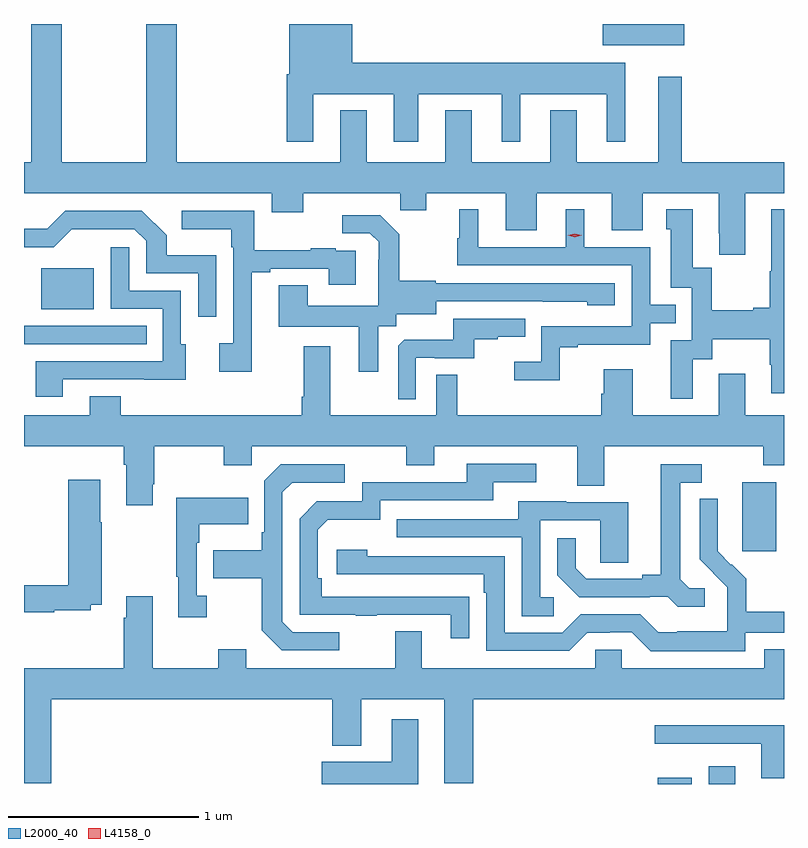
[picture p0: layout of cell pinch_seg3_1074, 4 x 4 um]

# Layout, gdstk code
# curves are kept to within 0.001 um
import gdstk
lib = gdstk.Library(unit=1e-6, precision=1e-09)
def R(c, l, rs):  # rectangles x0, y0, x1, y1
    for r in rs: c.add(gdstk.rectangle(r[:2], r[2:], *l))
def P(c, l, *ps):  # polygons
    for p in ps: c.add(gdstk.Polygon(p, *l))
L2000_40 = (2000, 40)
L4158_0 = (4158, 0)

pinch_seg3_1074 = lib.new_cell('pinch_seg3_1074')
R(pinch_seg3_1074, L2000_40, [(366.476,668.503,366.655,668.536), (366.743,668.503,366.883,668.596), (366.92,669.729,367.099,670.09), (363.14,670.818,363.785,670.914), (363.23,671.003,363.508,671.218), (366.186,672.392,366.615,672.503)])
P(pinch_seg3_1074, L2000_40, [(366.937,671.612),(367.14,671.612),(367.14,671.776),(366.601,671.776),(366.601,672.226),(366.479,672.226),(366.479,671.776),(366.049,671.776),(366.049,672.049),(365.909,672.049),(365.909,671.776),(365.497,671.776),(365.497,672.049),(365.357,672.049),(365.357,671.776),(364.945,671.776),(364.945,672.049),(364.805,672.049),(364.805,671.776),(363.944,671.776),(363.944,672.503),(363.784,672.503),(363.784,671.776),(363.339,671.776),(363.339,672.503),(363.179,672.503),(363.179,671.776),(363.14,671.776),(363.14,671.612),(364.445,671.612),(364.445,671.513),(364.609,671.513),(364.609,671.612),(365.119,671.612),(365.119,671.522),(365.257,671.522),(365.257,671.612),(365.675,671.612),(365.675,671.418),(365.839,671.418),(365.839,671.612),(366.233,671.612),(366.233,671.418),(366.397,671.418),(366.397,671.612),(366.797,671.612),(366.797,671.401),(366.8,671.401),(366.8,671.289),(366.937,671.289)],
  [(364.663,672.134),(365.087,672.134),(365.087,671.883),(365.215,671.883),(365.215,672.134),(365.654,672.134),(365.654,671.883),(365.752,671.883),(365.752,672.134),(366.206,672.134),(366.206,671.883),(366.304,671.883),(366.304,672.298),(364.867,672.298),(364.867,672.503),(364.535,672.503),(364.535,672.238),(364.523,672.238),(364.523,671.883),(364.663,671.883)],
  [(366.661,670.738),(366.763,670.738),(366.763,670.844),(367.066,670.844),(367.066,670.71),(367.073,670.71),(367.073,670.56),(367.14,670.56),(367.14,671.527),(367.073,671.527),(367.073,671.201),(367.066,671.201),(367.066,671.009),(366.977,671.009),(366.977,670.996),(366.759,670.996),(366.759,671.219),(366.661,671.219),(366.661,671.527),(366.521,671.527),(366.521,671.424),(366.545,671.424),(366.545,671.115),(366.654,671.115),(366.654,670.839),(366.545,670.839),(366.545,670.53),(366.661,670.53)],
  [(365.961,670.803),(366.055,670.803),(366.055,670.815),(366.435,670.815),(366.435,670.929),(366.569,670.929),(366.569,671.025),(366.435,671.025),(366.435,671.328),(366.088,671.328),(366.088,671.527),(365.99,671.527),(365.99,671.328),(365.53,671.328),(365.53,671.527),(365.432,671.527),(365.432,671.376),(365.421,671.376),(365.421,671.232),(366.339,671.232),(366.339,670.911),(365.862,670.911),(365.862,670.726),(365.721,670.726),(365.721,670.628),(365.961,670.628)],
  [(364.152,671.287),(363.891,671.287),(363.891,671.39),(363.76,671.52),(363.357,671.52),(363.263,671.426),(363.14,671.426),(363.14,671.328),(363.297,671.328),(363.392,671.423),(363.72,671.424),(363.783,671.361),(363.783,671.19),(364.056,671.19),(364.056,670.962),(364.152,670.962)],
  [(364.339,671.196),(364.435,671.196),(364.435,671.214),(364.745,671.214),(364.745,671.13),(364.885,671.13),(364.885,671.31),(364.781,671.31),(364.781,671.323),(364.649,671.323),(364.649,671.312),(364.351,671.312),(364.351,671.52),(363.969,671.52),(363.969,671.423),(364.23,671.423),(364.23,671.327),(364.242,671.327),(364.242,670.822),(364.167,670.822),(364.167,670.674),(364.339,670.674)],
  [(365.005,670.912),(365.1,670.912),(365.1,670.976),(365.311,670.976),(365.311,671.043),(366.105,671.042),(366.105,671.024),(366.25,671.024),(366.25,671.139),(365.307,671.139),(365.307,671.152),(365.115,671.152),(365.115,671.397),(365.015,671.497),(364.815,671.497),(364.815,671.403),(364.959,671.403),(365.006,671.356),(365.006,671.261),(365.004,671.261),(365.004,671.02),(364.633,671.02),(364.633,671.129),(364.481,671.129),(364.481,670.91),(364.901,670.91),(364.901,670.674),(365.005,670.674)],
  [(363.343,670.632),(363.773,670.632),(363.773,670.631),(363.991,670.631),(363.991,670.818),(363.966,670.818),(363.966,671.1),(363.693,671.1),(363.693,671.329),(363.597,671.329),(363.597,671.004),(363.87,671.004),(363.87,670.728),(363.203,670.728),(363.203,670.542),(363.343,670.542)],
  [(365.202,670.746),(365.302,670.746),(365.302,670.743),(365.51,670.743),(365.51,670.845),(365.633,670.845),(365.633,670.856),(365.777,670.856),(365.777,670.953),(365.4,670.953),(365.4,670.841),(365.141,670.841),(365.109,670.809),(365.109,670.529),(365.202,670.529)],
  [(363.817,670.081),(363.825,670.081),(363.825,670.28),(364.192,670.28),(364.192,670.181),(364.338,670.181),(364.338,670.28),(365.152,670.28),(365.152,670.181),(365.299,670.181),(365.299,670.28),(366.053,670.28),(366.053,670.072),(366.193,670.072),(366.193,670.28),(367.03,670.28),(367.03,670.181),(367.14,670.181),(367.14,670.444),(366.937,670.444),(366.937,670.663),(366.797,670.663),(366.797,670.444),(366.343,670.444),(366.343,670.687),(366.191,670.687),(366.191,670.557),(366.179,670.557),(366.179,670.444),(365.419,670.444),(365.419,670.658),(365.31,670.658),(365.31,670.444),(364.753,670.444),(364.753,670.807),(364.613,670.807),(364.613,670.54),(364.601,670.54),(364.601,670.444),(363.649,670.444),(363.649,670.543),(363.485,670.543),(363.485,670.444),(363.14,670.444),(363.14,670.28),(363.665,670.28),(363.665,670.184),(363.677,670.184),(363.677,669.969),(363.817,669.969)],
  [(365.483,669.488),(364.706,669.489),(364.706,669.586),(364.686,669.586),(364.686,669.84),(364.739,669.893),(365.016,669.893),(365.016,669.996),(365.611,669.996),(365.611,670.092),(365.836,670.092),(365.836,670.188),(365.471,670.188),(365.471,670.092),(364.92,670.092),(364.92,669.99),(364.68,669.99),(364.59,669.9),(364.59,669.393),(364.885,669.393),(364.885,669.388),(364.997,669.388),(364.997,669.393),(365.387,669.393),(365.387,669.27),(365.483,669.27)],
  [(366.724,669.534),(366.642,669.534),(366.595,669.581),(366.595,670.089),(366.706,670.089),(366.706,670.185),(366.491,670.185),(366.491,669.605),(366.395,669.605),(366.395,669.582),(366.1,669.582),(366.043,669.639),(366.043,669.796),(365.946,669.796),(365.946,669.602),(366.062,669.486),(366.434,669.486),(366.434,669.489),(366.528,669.489),(366.58,669.437),(366.724,669.437)],
  [(364.798,669.303),(364.554,669.303),(364.5,669.357),(364.5,670.038),(364.551,670.089),(364.828,670.089),(364.828,670.185),(364.491,670.185),(364.404,670.098),(364.404,669.829),(364.392,669.829),(364.392,669.733),(364.135,669.733),(364.135,669.586),(364.392,669.586),(364.392,669.313),(364.497,669.207),(364.798,669.207)],
  [(363.3,669.418),(363.492,669.418),(363.492,669.446),(363.549,669.446),(363.549,669.881),(363.541,669.881),(363.541,670.105),(363.374,670.105),(363.374,669.548),(363.14,669.548),(363.14,669.406),(363.3,669.406)],
  [(364.102,669.494),(364.05,669.494),(364.05,669.773),(364.063,669.773),(364.063,669.869),(364.319,669.869),(364.319,670.009),(363.942,670.009),(363.942,669.593),(363.953,669.593),(363.953,669.381),(364.102,669.381)],
  [(366.936,669.3),(367.14,669.3),(367.14,669.409),(366.941,669.409),(366.941,669.583),(366.864,669.66),(366.861,669.657),(366.791,669.728),(366.792,670.004),(366.696,670.004),(366.696,669.686),(366.842,669.538),(366.842,669.441),(366.84,669.441),(366.84,669.307),(366.577,669.307),(366.577,669.303),(366.477,669.303),(366.384,669.396),(366.069,669.396),(365.973,669.3),(365.67,669.3),(365.67,669.702),(364.946,669.702),(364.946,669.736),(364.785,669.736),(364.785,669.606),(365.561,669.606),(365.561,669.509),(365.574,669.509),(365.574,669.204),(366.009,669.204),(366.105,669.3),(366.224,669.3),(366.224,669.303),(366.339,669.303),(366.439,669.203),(366.936,669.203)],
  [(365.929,669.486),(365.856,669.486),(365.856,669.891),(366.174,669.891),(366.174,669.667),(366.319,669.667),(366.319,669.987),(365.995,669.987),(365.995,669.991),(365.741,669.991),(365.741,669.897),(365.101,669.897),(365.101,669.801),(365.76,669.801),(365.76,669.385),(365.929,669.385)],
  [(363.284,668.948),(364.763,668.948),(364.763,668.705),(364.915,668.705),(364.915,668.948),(365.351,668.948),(365.351,668.507),(365.504,668.507),(365.504,668.948),(367.14,668.948),(367.14,669.211),(367.037,669.211),(367.037,669.112),(366.285,669.112),(366.285,669.21),(366.147,669.21),(366.147,669.112),(365.233,669.112),(365.233,669.307),(365.093,669.307),(365.093,669.112),(364.309,669.112),(364.309,669.211),(364.162,669.211),(364.162,669.112),(363.817,669.112),(363.817,669.49),(363.677,669.49),(363.677,669.377),(363.665,669.377),(363.665,669.112),(363.14,669.112),(363.14,668.507),(363.284,668.507)],
  [(365.215,668.845),(365.075,668.845),(365.075,668.62),(364.706,668.62),(364.706,668.503),(365.215,668.503)],
  [(367.14,668.812),(366.459,668.812),(366.459,668.715),(367.019,668.715),(367.019,668.534),(367.14,668.534)])
P(pinch_seg3_1074, L4158_0, [(366.039,671.381),(366.003,671.39),(366.003,671.39),(366.003,671.39),(366.039,671.4),(366.075,671.392),(366.075,671.391),(366.075,671.391)])

lib.write_gds('pinch_seg3_1074.gds')
